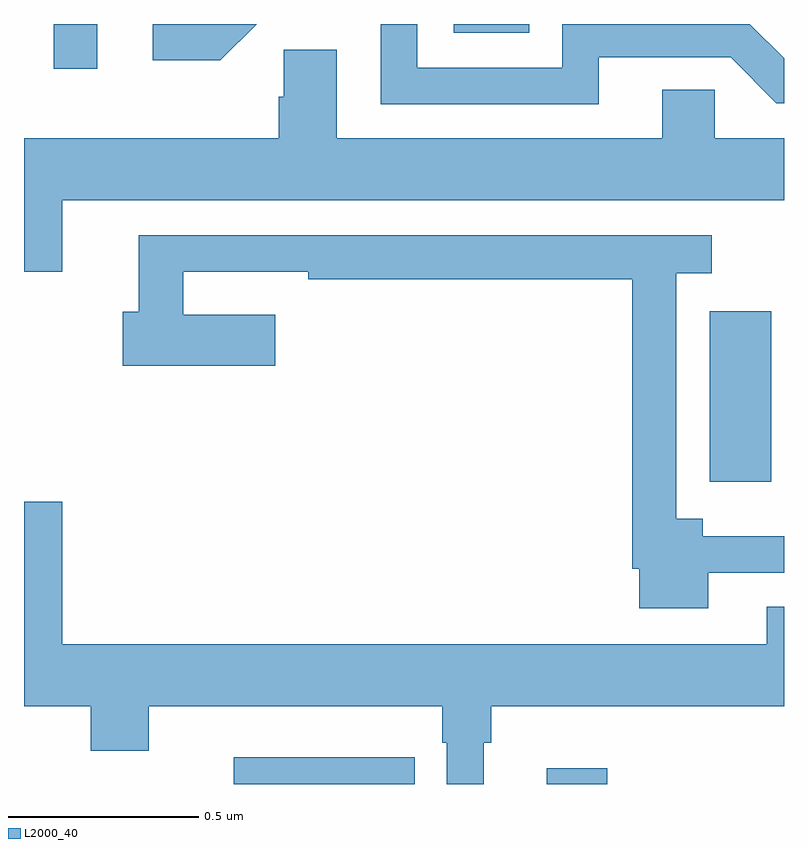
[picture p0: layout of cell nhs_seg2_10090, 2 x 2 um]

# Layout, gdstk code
import gdstk
lib = gdstk.Library(unit=1e-6, precision=1e-09)
def R(c, l, rs):  # rectangles x0, y0, x1, y1
    for r in rs: c.add(gdstk.rectangle(r[:2], r[2:], *l))
def P(c, l, *ps):  # polygons
    for p in ps: c.add(gdstk.Polygon(p, *l))
L2000_40 = (2000, 40)

nhs_seg2_10090 = lib.new_cell('nhs_seg2_10090')
R(nhs_seg2_10090, L2000_40, [(238.376,612.8,238.535,612.841), (238.805,613.596,238.966,614.044), (237.078,614.682,237.193,614.8), (238.131,614.777,238.329,614.8)])
P(nhs_seg2_10090, L2000_40, [(238.513,614.712),(238.86,614.712),(238.98,614.592),(239,614.592),(239,614.71),(238.91,614.8),(238.416,614.8),(238.416,614.685),(238.035,614.685),(238.035,614.8),(237.939,614.8),(237.939,614.589),(238.513,614.589)],
  [(237.613,614.8),(237.339,614.8),(237.339,614.705),(237.517,614.705)],
  [(237.1,614.336),(239,614.336),(239,614.5),(238.818,614.5),(238.818,614.627),(238.679,614.627),(238.679,614.5),(237.823,614.5),(237.823,614.732),(237.684,614.732),(237.684,614.609),(237.671,614.609),(237.671,614.5),(237,614.5),(237,614.148),(237.1,614.148)],
  [(238.801,613.356),(239,613.356),(239,613.452),(238.786,613.452),(238.786,613.498),(238.716,613.498),(238.716,614.144),(238.81,614.144),(238.81,614.244),(237.302,614.244),(237.302,614.043),(237.26,614.043),(237.26,613.901),(237.661,613.901),(237.661,614.035),(237.419,614.035),(237.419,614.148),(237.748,614.148),(237.748,614.128),(238.6,614.128),(238.6,613.366),(238.619,613.366),(238.619,613.262),(238.801,613.262)],
  [(237.1,613.543),(237,613.543),(237,613.004),(237.176,613.004),(237.176,612.887),(237.328,612.887),(237.328,613.004),(238.1,613.004),(238.1,612.908),(238.113,612.908),(238.113,612.8),(238.21,612.8),(238.21,612.908),(238.229,612.908),(238.229,613.004),(239,613.004),(239,613.267),(238.955,613.267),(238.955,613.168),(237.1,613.168)],
  [(238.028,612.87),(237.92,612.87),(237.92,612.871),(237.552,612.871),(237.552,612.8),(238.028,612.8)])

lib.write_gds('nhs_seg2_10090.gds')
